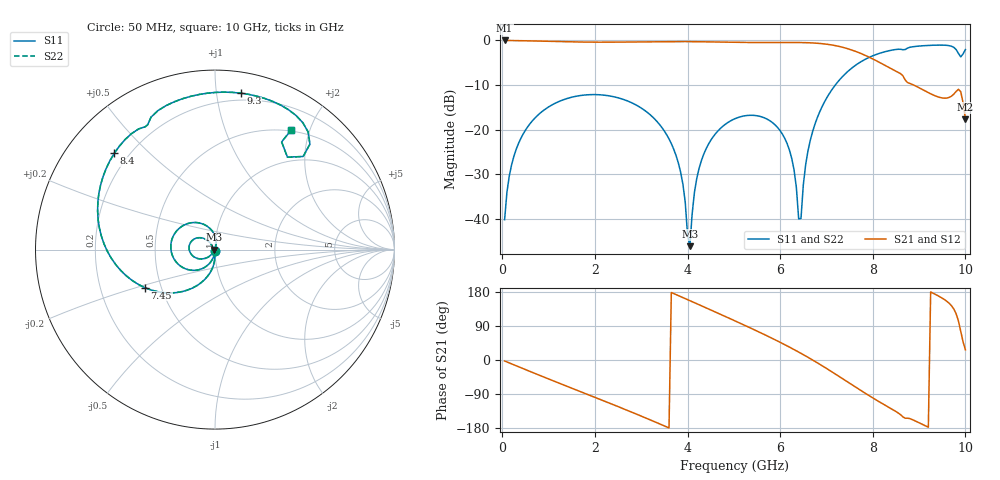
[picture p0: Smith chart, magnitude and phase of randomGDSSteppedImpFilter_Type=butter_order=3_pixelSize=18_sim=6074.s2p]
! freq	dB(S11)	phase(S11)	dB(S12)	phase(S12)
!  dB(S21)	phase(S21)	dB(S22)	phase(S22)
!S-par simulation data
#  GHz  S  DB  R 50
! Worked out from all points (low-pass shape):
!   200 points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, 50 MHz to 10 GHz, reference 50 ohm
!   highest |S21| = -0.01 dB at 50 MHz (marker M1); lowest = -17.6 dB at 10 GHz (marker M2)
!   |S21| within 3 dB of the highest: start of sweep to 7.762 GHz
!   lowest |S11| = -46.1 dB at 4.05 GHz (marker M3), VSWR 1.01, Z = 49.5 - j0.107 ohm
!   |S11| at or under -10 dB: start of sweep to 7.19 GHz
!   |S22| runs from -46.5 to -1.0 dB; largest |S21 - S12| = 0
!   S11 on the Smith chart (normalised r, x): 50 MHz: 1.00, -0.02; 7.45 GHz: 0.41, -0.21; 8.4 GHz: 0.15, +0.39; 9.3 GHz: 0.15, +1.17; 10 GHz: 0.49, +1.72
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0.05  -40.14 -93.3  -0.01 -2.6  -0.01 -2.6  -40.15 -93.3
0.2  -27.90 -101.3  -0.04 -10.2  -0.04 -10.2  -27.90 -101.3
0.5  -20.10 -116.0  -0.08 -25.3  -0.08 -25.3  -20.10 -116.0
1.75  -12.26 -177.2  -0.37 -86.5  -0.37 -86.5  -12.26 -177.3
2.55  -13.00 144.0  -0.37 -125.4  -0.37 -125.4  -13.00 143.9
3.4  -18.89 101.4  -0.27 -168.7  -0.27 -168.7  -18.89 101.0
3.85  -29.47 79.7  -0.26 167.4  -0.26 167.4  -29.48 78.2
4.05  -46.08 -167.4  -0.27 156.7  -0.27 156.7  -46.48 -162.2
4.15  -33.96 -124.4  -0.28 151.2  -0.28 151.2  -33.98 -121.8
4.3  -26.90 -129.5  -0.30 143.1  -0.30 143.1  -26.90 -128.4
5.05  -17.42 -168.9  -0.44 101.8  -0.44 101.8  -17.42 -168.5
6.05  -21.01 135.3  -0.47 43.6  -0.47 43.6  -21.01 135.8
6.3  -29.00 125.5  -0.46 27.6  -0.46 27.6  -28.98 126.9
6.4  -39.96 151.0  -0.47 20.9  -0.47 20.9  -39.50 154.7
6.45  -39.87 -120.4  -0.48 17.6  -0.48 17.6  -39.36 -123.0
6.7  -20.46 -96.3  -0.56 0.1  -0.56 0.1  -20.45 -96.8
7.45  -7.05 -151.4  -1.83 -57.4  -1.83 -57.4  -7.05 -151.5
8.35  -2.31 139.9  -6.07 -125.2  -6.07 -125.2  -2.31 139.9
8.4  -2.20 136.3  -6.35 -128.8  -6.35 -128.8  -2.20 136.3
9.3  -1.08 80.6  -12.20 176.5  -12.20 176.5  -1.08 80.6
9.85  -2.92 46.6  -10.95 103.0  -10.95 103.0  -2.92 46.5
10  -2.05 57.5  -17.63 26.9  -17.63 26.9  -2.05 57.5
